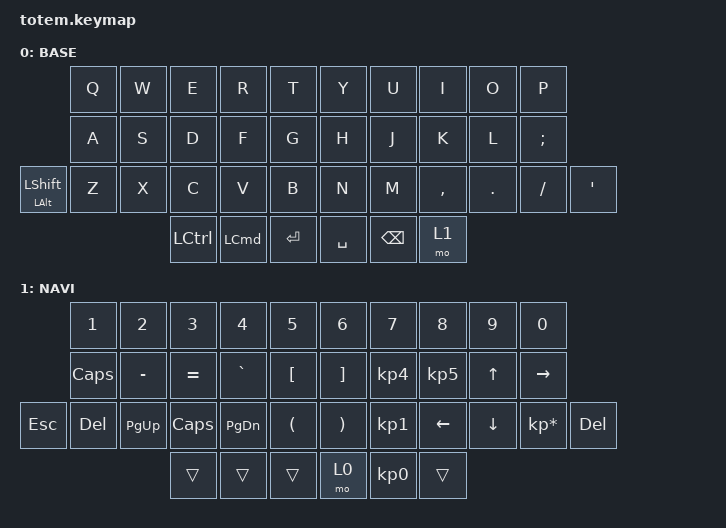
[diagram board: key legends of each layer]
//
//                                                        ▀▀▀▀▀     ▀▀▀▀▀          ▀▀█▀▀
//                                                        ▄▀▀▀▄  ▄  ▄▀▀▀▄  ▄  ▄▀▀▀▄  █  ▄▀▀▀▄
//                                                        █   █  █  █   █  █  █   █  █  █   █
//                                                         ▀▀▀   █   ▀▀▀   █   ▀▀▀   ▀   ▀▀▀
//                                                               █      ▄▄▄█▄▄▄    █   █  
//                                                               ▀      █  █  █     █▄█
//                                                             ▀▀▀▀▀    █  █  █      ▀
//                                                                      ▀  ▀  ▀
//
// ▄▄▄▄▄▄▄▄▄▄▄▄▄▄▄▄▄▄▄▄▄▄▄▄▄▄▄▄▄▄▄▄▄▄▄▄▄▄▄▄▄▄▄▄▄▄▄▄▄▄▄▄▄▄▄▄▄▄▄▄▄▄▄▄▄▄▄▄▄▄▄▄▄▄▄▄▄▄▄▄▄▄▄▄▄▄▄▄▄▄▄▄▄▄▄▄▄▄▄▄▄▄▄▄▄▄▄▄▄▄▄▄▄▄▄▄▄▄▄▄▄▄▄▄▄▄▄▄▄▄▄▄▄▄▄▄▄▄▄▄▄▄▄▄▄▄▄▄▄

#include <behaviors.dtsi>
#include <dt-bindings/zmk/keys.h>

#define BASE 0
#define NAV  1
#define SYM  2
#define ADJ  3
#define TVP1 4
#define TVP2 5

&mt {
    quick-tap-ms = <100>;
    global-quick-tap;
    flavor = "tap-preferred";
    tapping-term-ms = <170>;
};

/ {
    combos {
        compatible = "zmk,combos";

        combo_esc {
            timeout-ms = <50>;
            key-positions = <0 1>;
            bindings = <&kp ESC>;
        };

        combo_tvp {
            timeout-ms = <100>;
            key-positions = <11 12 13>;
            bindings = <&tog 0>;
        };
    };

    macros {
        gif: gif {
            label = "giphy";
            compatible = "zmk,behavior-macro";
            #binding-cells = <0>;
            bindings =
                <&macro_press>,
                <&kp LSHFT>,
                <&macro_tap>,
                <&kp N2>,
                <&macro_release>,
                <&kp LSHFT>,
                <&macro_tap>,
                <&kp G &kp I &kp F>;
        };
    };

    keymap {
        compatible = "zmk,keymap";

        // ▄▄▄▄▄▄▄▄▄▄▄▄▄▄▄▄▄▄▄▄▄▄▄▄▄▄▄▄▄▄▄▄▄▄▄▄▄▄▄▄▄▄▄▄▄▄▄▄▄▄▄▄▄▄▄▄▄▄▄▄▄▄▄▄▄▄▄▄▄▄▄▄▄▄▄▄▄▄▄▄▄▄▄▄▄▄▄▄▄▄▄▄▄▄▄▄▄▄▄▄▄▄▄▄▄▄▄▄▄▄▄▄▄▄▄▄▄▄▄▄▄▄▄▄▄▄▄▄▄▄▄▄▄▄▄▄▄▄▄▄▄▄▄▄▄▄▄▄▄

        base_layer {
            // ┏━━━━━━━━━━━━━━━━━━━━━━━━━━━━━━━━━━━━━━━┓

            label = "BASE";

            // ┗━━━━━━━━━━━━━━━━━━━━━━━━━━━━━━━━━━━━━━━┛
            //             ┏━━━━━━━━━━━┳━━━━━━━━━━━┳━━━━━━━━━━━┳━━━━━━━━━━━┳━━━━━━━━━━━┓   ┏━━━━━━━━━━━┳━━━━━━━━━━━┳━━━━━━━━━━━┳━━━━━━━━━━━┳━━━━━━━━━━━┓
            //             ┃     Q     ┃     W     ┃     F     ┃     P     ┃     G     ┃   ┃     J     ┃     L     ┃     U     ┃     Y     ┃     ;     ┃
            //             ┣━━━━━━━━━━━╋━━━━━━━━━━━╋━━━━━━━━━━━╋━━━━━━━━━━━╋━━━━━━━━━━━┫   ┣━━━━━━━━━━━╋━━━━━━━━━━━╋━━━━━━━━━━━╋━━━━━━━━━━━╋━━━━━━━━━━━┫
            //             ┃     A     ┃     R     ┃     S     ┃     T     ┃     D     ┃   ┃     H     ┃     N     ┃     E     ┃     I     ┃     O     ┃
            // ┏━━━━━━━━━━━╋━━━━━━━━━━━╋━━━━━━━━━━━╋━━━━━━━━━━━╋━━━━━━━━━━━╋━━━━━━━━━━━┫   ┣━━━━━━━━━━━╋━━━━━━━━━━━╋━━━━━━━━━━━╋━━━━━━━━━━━╋━━━━━━━━━━━╋━━━━━━━━━━━┓
            // ┃     Q     ┃     Z     ┃     X     ┃     C     ┃     V     ┃     B     ┃   ┃     K     ┃     M     ┃     ,     ┃     .     ┃     /     ┃     \     ┃
            // ┗━━━━━━━━━━━┻━━━━━━━━━━━┻━━━━━━━━━━━╋━━━━━━━━━━━╋━━━━━━━━━━━╋━━━━━━━━━━━┫   ┣━━━━━━━━━━━╋━━━━━━━━━━━╋━━━━━━━━━━━╋━━━━━━━━━━━┻━━━━━━━━━━━┻━━━━━━━━━━━┛
            //                                     ┃    DEL    ┃    TAB    ┃    SPC    ┃   ┃   ENTER   ┃           ┃   BSPC    ┃
            //                                     ┗━━━━━━━━━━━┻━━━━━━━━━━━┻━━━━━━━━━━━┛   ┗━━━━━━━━━━━┻━━━━━━━━━━━┻━━━━━━━━━━━┛

            bindings = <
                         &kp Q  &kp W  &kp E      &kp R             &kp T        &kp Y      &kp U          &kp I      &kp O    &kp P
                         &kp A  &kp S  &kp D      &kp F             &kp G        &kp H      &kp J          &kp K      &kp L    &kp SEMICOLON
&mt LEFT_ALT LEFT_SHIFT  &kp Z  &kp X  &kp C      &kp V             &kp B        &kp N      &kp M          &kp COMMA  &kp DOT  &kp FSLH       &kp SQT
                                       &kp LCTRL  &kp LEFT_COMMAND  &kp ENTER    &kp SPACE  &kp BACKSPACE  &mo 1
            >;
        };

        // ▄▄▄▄▄▄▄▄▄▄▄▄▄▄▄▄▄▄▄▄▄▄▄▄▄▄▄▄▄▄▄▄▄▄▄▄▄▄▄▄▄▄▄▄▄▄▄▄▄▄▄▄▄▄▄▄▄▄▄▄▄▄▄▄▄▄▄▄▄▄▄▄▄▄▄▄▄▄▄▄▄▄▄▄▄▄▄▄▄▄▄▄▄▄▄▄▄▄▄▄▄▄▄▄▄▄▄▄▄▄▄▄▄▄▄▄▄▄▄▄▄▄▄▄▄▄▄▄▄▄▄▄▄▄▄▄▄▄▄▄▄▄▄▄▄▄▄▄▄

        nav_layer {
            // ┏━━━━━━━━━━━━━━━━━━━━━━━━━━━━━━━━━━━━━━━┓

            label = "NAVI";

            // ┗━━━━━━━━━━━━━━━━━━━━━━━━━━━━━━━━━━━━━━━┛
            //             ┏━━━━━━━━━━━┳━━━━━━━━━━━┳━━━━━━━━━━━┳━━━━━━━━━━━┳━━━━━━━━━━━┓   ┏━━━━━━━━━━━┳━━━━━━━━━━━┳━━━━━━━━━━━┳━━━━━━━━━━━┳━━━━━━━━━━━┓
            //             ┃           ┃           ┃     UP    ┃           ┃     {     ┃   ┃     }     ┃     7     ┃     8     ┃     9     ┃     +     ┃
            //             ┣━━━━━━━━━━━╋━━━━━━━━━━━╋━━━━━━━━━━━╋━━━━━━━━━━━╋━━━━━━━━━━━┫   ┣━━━━━━━━━━━╋━━━━━━━━━━━╋━━━━━━━━━━━╋━━━━━━━━━━━╋━━━━━━━━━━━┫
            //             ┃   SHIFT   ┃   LEFT    ┃    DOWN   ┃   RIGHT   ┃     [     ┃   ┃     ]     ┃     4     ┃     5     ┃     6     ┃     -     ┃
            // ┏━━━━━━━━━━━╋━━━━━━━━━━━╋━━━━━━━━━━━╋━━━━━━━━━━━╋━━━━━━━━━━━╋━━━━━━━━━━━┫   ┣━━━━━━━━━━━╋━━━━━━━━━━━╋━━━━━━━━━━━╋━━━━━━━━━━━╋━━━━━━━━━━━╋━━━━━━━━━━━┓
            // ┃           ┃           ┃   P UP    ┃  C LOCK   ┃  P DOWN   ┃     (     ┃   ┃     )     ┃     1     ┃     2     ┃     3     ┃     *     ┃           ┃
            // ┗━━━━━━━━━━━┻━━━━━━━━━━━┻━━━━━━━━━━━╋━━━━━━━━━━━╋━━━━━━━━━━━╋━━━━━━━━━━━┫   ┣━━━━━━━━━━━╋━━━━━━━━━━━╋━━━━━━━━━━━╋━━━━━━━━━━━┻━━━━━━━━━━━┻━━━━━━━━━━━┛
            //                                     ┃           ┃    TAB    ┃    SPC    ┃   ┃    DEL    ┃     0     ┃           ┃
            //                                     ┗━━━━━━━━━━━┻━━━━━━━━━━━┻━━━━━━━━━━━┛   ┗━━━━━━━━━━━┻━━━━━━━━━━━┻━━━━━━━━━━━┛

            bindings = <
         &kp NUMBER_1  &kp NUMBER_2  &kp NUMBER_3  &kp NUMBER_4  &kp NUMBER_5    &kp NUMBER_6  &kp NUMBER_7  &kp NUMBER_8  &kp NUMBER_9  &kp NUMBER_0
         &kp CAPSLOCK  &kp MINUS     &kp EQUAL     &kp GRAVE     &kp LBKT        &kp RBKT      &kp KP_N4     &kp KP_N5     &kp UP        &kp RIGHT
&kp ESC  &kp DEL       &kp PG_UP     &kp CAPS      &kp PG_DN     &kp LPAR        &kp RPAR      &kp KP_N1     &kp LEFT      &kp DOWN      &kp KP_MULTIPLY  &kp DEL
                                     &trans        &trans        &trans          &mo 0         &kp KP_N0     &trans
            >;
        };

        // ▄▄▄▄▄▄▄▄▄▄▄▄▄▄▄▄▄▄▄▄▄▄▄▄▄▄▄▄▄▄▄▄▄▄▄▄▄▄▄▄▄▄▄▄▄▄▄▄▄▄▄▄▄▄▄▄▄▄▄▄▄▄▄▄▄▄▄▄▄▄▄▄▄▄▄▄▄▄▄▄▄▄▄▄▄▄▄▄▄▄▄▄▄▄▄▄▄▄▄▄▄▄▄▄▄▄▄▄▄▄▄▄▄▄▄▄▄▄▄▄▄▄▄▄▄▄▄▄▄▄▄▄▄▄▄▄▄▄▄▄▄▄▄▄▄▄▄▄▄
        // ▄▄▄▄▄▄▄▄▄▄▄▄▄▄▄▄▄▄▄▄▄▄▄▄▄▄▄▄▄▄▄▄▄▄▄▄▄▄▄▄▄▄▄▄▄▄▄▄▄▄▄▄▄▄▄▄▄▄▄▄▄▄▄▄▄▄▄▄▄▄▄▄▄▄▄▄▄▄▄▄▄▄▄▄▄▄▄▄▄▄▄▄▄▄▄▄▄▄▄▄▄▄▄▄▄▄▄▄▄▄▄▄▄▄▄▄▄▄▄▄▄▄▄▄▄▄▄▄▄▄▄▄▄▄▄▄▄▄▄▄▄▄▄▄▄▄▄▄▄
        // ▄▄▄▄▄▄▄▄▄▄▄▄▄▄▄▄▄▄▄▄▄▄▄▄▄▄▄▄▄▄▄▄▄▄▄▄▄▄▄▄▄▄▄▄▄▄▄▄▄▄▄▄▄▄▄▄▄▄▄▄▄▄▄▄▄▄▄▄▄▄▄▄▄▄▄▄▄▄▄▄▄▄▄▄▄▄▄▄▄▄▄▄▄▄▄▄▄▄▄▄▄▄▄▄▄▄▄▄▄▄▄▄▄▄▄▄▄▄▄▄▄▄▄▄▄▄▄▄▄▄▄▄▄▄▄▄▄▄▄▄▄▄▄▄▄▄▄▄▄
        // ▄▄▄▄▄▄▄▄▄▄▄▄▄▄▄▄▄▄▄▄▄▄▄▄▄▄▄▄▄▄▄▄▄▄▄▄▄▄▄▄▄▄▄▄▄▄▄▄▄▄▄▄▄▄▄▄▄▄▄▄▄▄▄▄▄▄▄▄▄▄▄▄▄▄▄▄▄▄▄▄▄▄▄▄▄▄▄▄▄▄▄▄▄▄▄▄▄▄▄▄▄▄▄▄▄▄▄▄▄▄▄▄▄▄▄▄▄▄▄▄▄▄▄▄▄▄▄▄▄▄▄▄▄▄▄▄▄▄▄▄▄▄▄▄▄▄▄▄▄
    };
};
